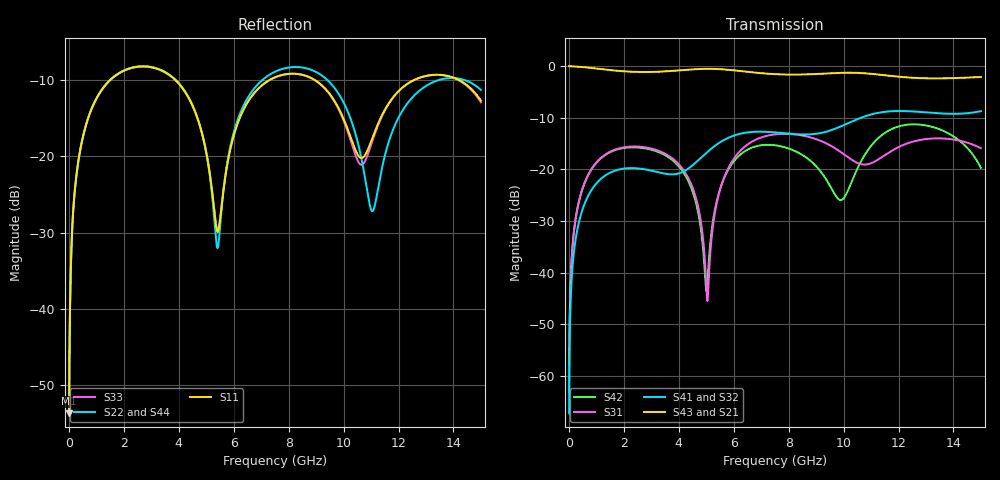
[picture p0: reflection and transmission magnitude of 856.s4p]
! Created with skrf 1.8.0 (http://scikit-rf.org).
# GHz S RI R 50.0
!freq ReS11 ImS11 ReS12 ImS12 ReS13 ImS13
! ReS14 ImS14
! ReS21 ImS21 ReS22 ImS22 ReS23 ImS23
! ReS24 ImS24
! ReS31 ImS31 ReS32 ImS32 ReS33 ImS33
! ReS34 ImS34
! ReS41 ImS41 ReS42 ImS42 ReS43 ImS43
! ReS44 ImS44
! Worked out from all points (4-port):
!   2499 points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, 5 MHz to 15 GHz, reference 50 ohm
!   strongest paths, dB at 5 MHz, 3.476 GHz, 7.19 GHz, 11.1 GHz, 15 GHz:
!     S43: 0.0, -1.0, -1.5, -1.5, -2.1
!     S21: 0.0, -1.0, -1.5, -1.5, -2.1
!     S41: -67.2, -20.8, -12.7, -9.2, -8.7
!     S32: -67.2, -20.9, -12.8, -9.2, -8.8
!     S31: -63.1, -16.9, -13.5, -18.6, -15.9
!     S42: -63.1, -17.2, -15.2, -14.8, -19.7
!   lowest |S11| = -53.7 dB at 5 MHz (marker M1), VSWR 1.00, Z = 50.2 + j0.126 ohm
!   |S11| at or under -10 dB: start of sweep to 1.495 GHz; 3.879 GHz to 7.298 GHz (3.419 GHz wide, 61.2 % of centre); 8.961 GHz to 12.55 GHz (3.591 GHz wide, 33.4 % of centre) (the widest 3 of 4)
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0.005  0.00166 0.00125  0.9983 -0.00322  8.44e-05 0.000691  -8.18e-05 -0.000428
       0.9983 -0.00322  0.00166 0.00125  -8.18e-05 -0.000428  8.43e-05 0.000691
       8.44e-05 0.000691  -8.18e-05 -0.000428  0.00166 0.00125  0.9983 -0.00322
       -8.18e-05 -0.000428  8.43e-05 0.000691  0.9983 -0.00322  0.00166 0.00125
0.3126303  0.0244 0.0824  0.9666 -0.2004  0.012 0.0409  -0.00972 -0.0251
           0.9666 -0.2004  0.0245 0.0823  -0.00972 -0.0251  0.0115 0.041
           0.012 0.0409  -0.00972 -0.0251  0.0244 0.0824  0.9666 -0.2004
           -0.00972 -0.0251  0.0115 0.041  0.9666 -0.2004  0.0245 0.0824
1.519383  0.2646 0.1786  0.5571 -0.7241  0.1354 0.0629  -0.0932 -0.00731
          0.5571 -0.7241  0.2665 0.1772  -0.0931 -0.00745  0.1302 0.0698
          0.1354 0.0629  -0.0931 -0.00745  0.2646 0.1785  0.5571 -0.7241
          -0.0932 -0.00731  0.1302 0.0698  0.5571 -0.7241  0.2664 0.1773
5.0396  0.0495 -0.0838  -0.8974 -0.2824  -0.0053 0.000139  -0.0392 0.1422
        -0.8974 -0.2824  0.0419 -0.0863  -0.0411 0.1417  -0.00732 0.00317
        -0.0053 0.000139  -0.0411 0.1417  0.05 -0.0833  -0.8974 -0.2825
        -0.0392 0.1422  -0.00732 0.00317  -0.8974 -0.2825  0.0412 -0.0861
8.441017  0.3438 -0.0223  0.014 0.8276  0.1395 -0.1622  0.2067 -0.0694
          0.014 0.8276  0.379 -0.0615  0.2061 -0.0636  0.1401 -0.0144
          0.1395 -0.1622  0.2061 -0.0636  0.3433 -0.0278  0.0134 0.8282
          0.2067 -0.0694  0.1401 -0.0144  0.0134 0.8282  0.377 -0.0562
11.1609  0.1263 0.0794  0.8336 -0.0143  -0.0456 0.1113  -0.0265 -0.3475
         0.8336 -0.0143  0.0481 0.0134  -0.0156 -0.3488  0.1235 0.1429
         -0.0456 0.1113  -0.0156 -0.3488  0.118 0.0831  0.8339 -0.0136
         -0.0265 -0.3475  0.1235 0.1429  0.8339 -0.0136  0.0539 0.0136
15  0.1909 -0.1327  -0.3836 -0.6812  -0.0102 -0.1601  -0.2952 0.2168
    -0.3836 -0.6812  0.2365 -0.137  -0.3029 0.2034  0.0608 -0.0837
    -0.0102 -0.1601  -0.3029 0.2034  0.1857 -0.1297  -0.3838 -0.6834
    -0.2952 0.2168  0.0608 -0.0837  -0.3838 -0.6834  0.2288 -0.133
